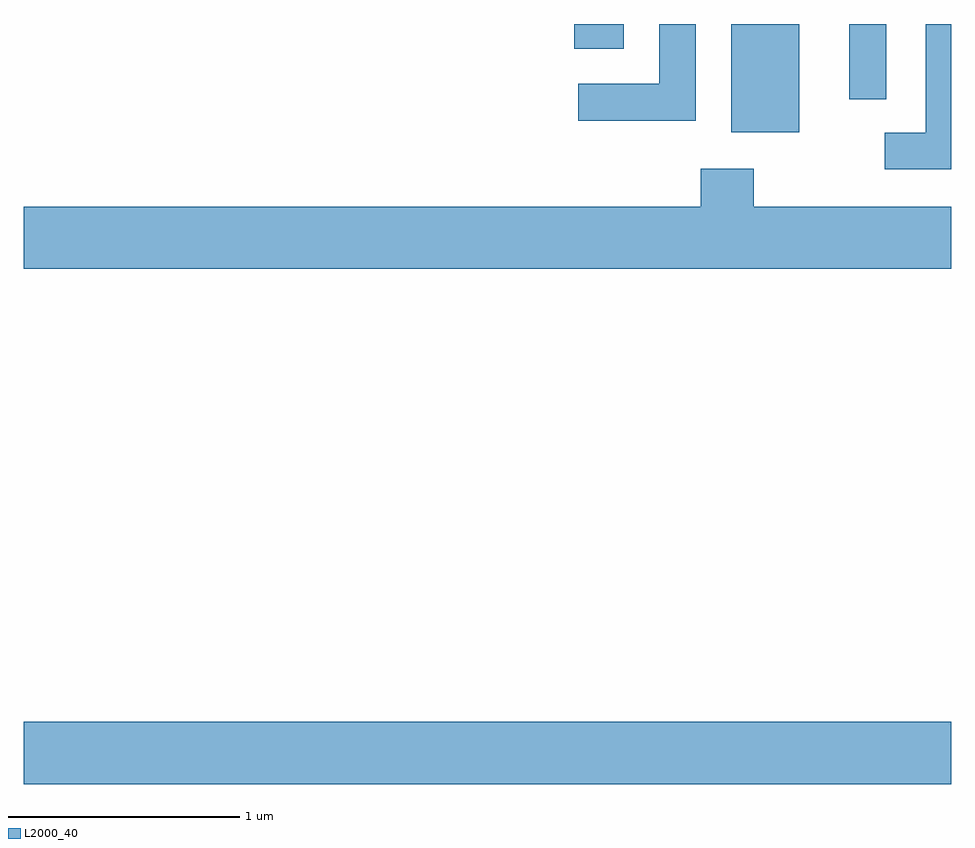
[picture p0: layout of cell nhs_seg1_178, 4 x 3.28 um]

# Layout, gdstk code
import gdstk
lib = gdstk.Library(unit=1e-6, precision=1e-09)
def R(c, l, rs):  # rectangles x0, y0, x1, y1
    for r in rs: c.add(gdstk.rectangle(r[:2], r[2:], *l))
def P(c, l, *ps):  # polygons
    for p in ps: c.add(gdstk.Polygon(p, *l))
L2000_40 = (2000, 40)

nhs_seg1_178 = lib.new_cell('nhs_seg1_178')
R(nhs_seg1_178, L2000_40, [(189.611,928.436,193.611,928.704), (192.661,931.246,192.954,931.712), (193.171,931.388,193.329,931.712), (191.986,931.606,192.199,931.712)])
P(nhs_seg1_178, L2000_40, [(193.611,931.712),(193.501,931.712),(193.501,931.244),(193.323,931.244),(193.323,931.086),(193.611,931.086)],
  [(192.509,931.712),(192.351,931.712),(192.351,931.454),(192.003,931.454),(192.003,931.296),(192.509,931.296)],
  [(193.611,930.924),(192.759,930.924),(192.759,931.089),(192.531,931.089),(192.531,930.924),(189.611,930.924),(189.611,930.656),(193.611,930.656)])

lib.write_gds('nhs_seg1_178.gds')
